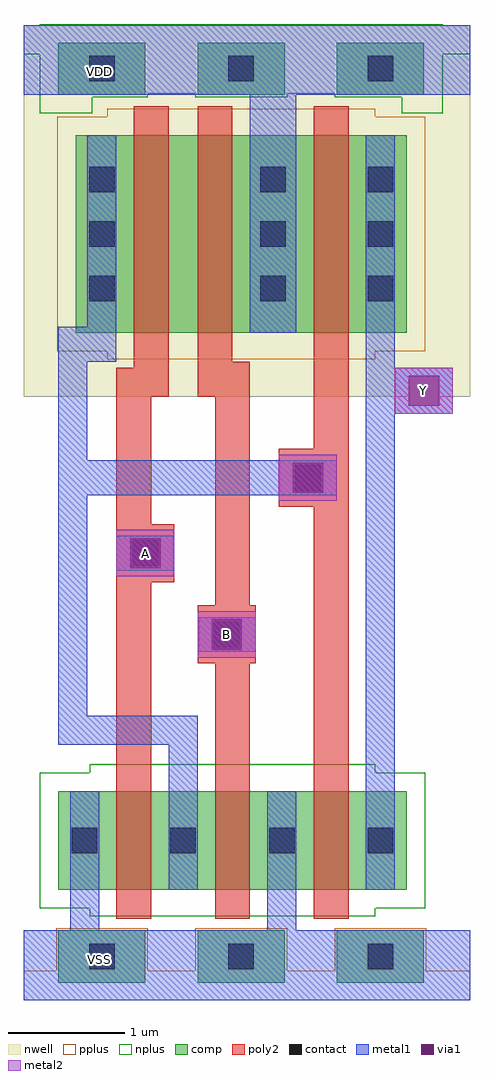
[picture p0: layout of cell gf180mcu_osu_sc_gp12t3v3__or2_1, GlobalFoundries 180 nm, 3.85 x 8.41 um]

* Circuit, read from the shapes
.subckt gf180mcu_osu_sc_gp12t3v3__or2_1 A B VDD VSS Y
XM1 n1 A VSS VSS nfet_03v3 w=0.85u l=0.3u
XM2 VSS B n1 VSS nfet_03v3 w=0.85u l=0.3u
XM3 Y n1 VSS VSS nfet_03v3 w=0.85u l=0.3u
XM4 n2 A n1 VDD pfet_03v3 w=1.7u l=0.3u
XM5 VDD B n2 VDD pfet_03v3 w=1.7u l=0.3u
XM6 Y n1 VDD VDD pfet_03v3 w=1.7u l=0.3u
.ends

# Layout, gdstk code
import gdstk
lib = gdstk.Library(unit=1e-6, precision=1e-09)
def R(c, l, rs):  # rectangles x0, y0, x1, y1
    for r in rs: c.add(gdstk.rectangle(r[:2], r[2:], *l))
def A(c, l, x, y, w, h, nx, ny, dx, dy):  # array of equal rectangles
    R(c, l, [(x+i*dx, y+j*dy, x+i*dx+w, y+j*dy+h) for i in range(nx) for j in range(ny)])
nwell = (21, 0)
comp = (22, 0)
poly2 = (30, 0)
pplus = (31, 0)
nplus = (32, 0)
contact = (33, 0)
metal1 = (34, 0)
via1 = (35, 0)
metal2 = (36, 0)

gf180mcu_osu_sc_gp12t3v3 = lib.new_cell('gf180mcu_osu_sc_gp12t3v3__or2_1')
R(gf180mcu_osu_sc_gp12t3v3, nwell, [(0,5.2,3.85,8.4)])
A(gf180mcu_osu_sc_gp12t3v3, comp, 0.3, 0.15, 0.75, 0.45, 3, 2, 1.2, 7.65)
R(gf180mcu_osu_sc_gp12t3v3, comp, [(0.3,0.95,3.3,1.8), (0.45,5.75,3.3,7.45)])
R(gf180mcu_osu_sc_gp12t3v3, poly2, [(0.8,0.7,1.1,3.6), (1.65,0.7,1.95,2.9), (2.5,0.7,2.8,4.25), (1.5,2.9,2,3.4), (1.65,3.4,1.95,5.2), (0.8,3.6,1.3,4.1), (0.8,4.1,1.1,5.2), (2.2,4.25,2.8,4.75), (2.5,4.75,2.8,7.7), (0.8,5.2,1.25,5.45), (1.5,5.2,1.95,5.5), (0.95,5.45,1.25,7.7), (1.5,5.5,1.8,7.7)])
A(gf180mcu_osu_sc_gp12t3v3, pplus, 0.28, 0.13, 0.79, 0.49, 3, 1, 1.2, 0)
R(gf180mcu_osu_sc_gp12t3v3, pplus, [(0,0,3.85,0.25), (0.72,5.52,3.03,5.59), (0.29,5.59,3.46,7.61), (0.72,7.61,3.03,7.68)])
R(gf180mcu_osu_sc_gp12t3v3, nplus, [(0.57,0.72,3.03,0.79), (0.14,0.79,3.46,1.96), (0.57,1.96,3.03,2.03), (0.14,7.64,0.59,7.78), (3.26,7.64,3.61,7.78), (0.14,7.78,1.07,7.81), (1.48,7.78,2.27,7.81), (2.68,7.78,3.61,7.81), (0.14,7.81,3.61,8.15), (0,8.15,3.85,8.4), (0,8.15,3.85,8.4), (0.14,8.4,3.61,8.41)])
A(gf180mcu_osu_sc_gp12t3v3, contact, 0.565, 0.265, 0.22, 0.22, 3, 2, 1.2, 7.65)
A(gf180mcu_osu_sc_gp12t3v3, contact, 0.415, 1.265, 0.22, 0.22, 4, 1, 0.85, 0)
A(gf180mcu_osu_sc_gp12t3v3, contact, 0.565, 6.02, 0.22, 0.22, 1, 3, 0, 0.47)
A(gf180mcu_osu_sc_gp12t3v3, contact, 2.04, 6.02, 0.22, 0.22, 1, 3, 0, 0.47)
A(gf180mcu_osu_sc_gp12t3v3, contact, 2.965, 6.02, 0.22, 0.22, 1, 3, 0, 0.47)
R(gf180mcu_osu_sc_gp12t3v3, contact, [(1.64,3.04,1.86,3.26), (0.94,3.74,1.16,3.96), (2.34,4.39,2.56,4.61)])
R(gf180mcu_osu_sc_gp12t3v3, metal1, [(0,0,3.85,0.6), (0.4,0.6,0.65,1.8), (2.1,0.6,2.35,1.8), (1.25,0.95,1.5,2.2), (2.95,0.95,3.2,5.05), (0.3,2.2,1.5,2.45), (0.3,2.45,0.55,4.35), (1.5,3,2,3.3), (0.8,3.7,1.3,4), (0.3,4.35,2.7,4.65), (0.3,4.65,0.55,5.5), (2.95,5.05,3.7,5.45), (2.95,5.45,3.2,7.45), (0.3,5.5,0.8,5.8), (1.95,5.75,2.35,7.8), (0.55,5.8,0.8,7.45), (0,7.8,3.85,8.4)])
R(gf180mcu_osu_sc_gp12t3v3, via1, [(1.62,3.02,1.88,3.28), (0.92,3.72,1.18,3.98), (2.32,4.37,2.58,4.63), (3.32,5.12,3.58,5.38)])
R(gf180mcu_osu_sc_gp12t3v3, metal2, [(1.5,2.95,2,3.35), (0.8,3.65,1.3,4.05), (2.2,4.3,2.7,4.7), (3.2,5.05,3.7,5.45)])
gf180mcu_osu_sc_gp12t3v3.add(gdstk.Label('A', (1.05,3.85), layer=36, texttype=10))
gf180mcu_osu_sc_gp12t3v3.add(gdstk.Label('B', (1.75,3.15), layer=36, texttype=10))
gf180mcu_osu_sc_gp12t3v3.add(gdstk.Label('Y', (3.45,5.25), layer=36, texttype=10))
gf180mcu_osu_sc_gp12t3v3.add(gdstk.Label('VDD', (0.65,8), layer=34, texttype=10))
gf180mcu_osu_sc_gp12t3v3.add(gdstk.Label('VSS', (0.65,0.35), layer=34, texttype=10))

lib.write_gds('gf180mcu_osu_sc_gp12t3v3__or2_1.gds')
